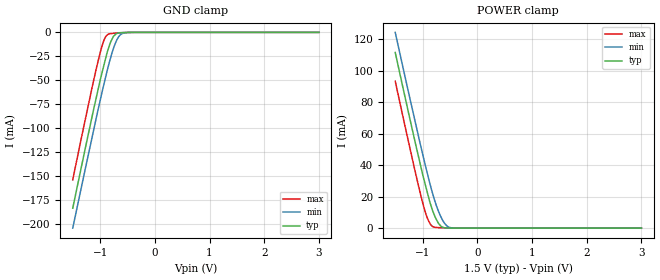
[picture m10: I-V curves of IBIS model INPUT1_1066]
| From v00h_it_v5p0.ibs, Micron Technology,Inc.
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| MODEL INPUT1_1066 (Add/Cmd/Ctrl Input Model, 800/1066Mbps)
[Model]   INPUT1_1066
Model_type   Input
Vinl = 575.000mV
Vinh = 925.000mV
|   typ   min   max
|C_comp   0.450pF   0.375pF   0.525pF
C_comp_power_clamp   0.2250pF   0.1875pF   0.2625pF
C_comp_gnd_clamp   0.2250pF   0.1875pF   0.2625pF
[Model Spec]
| Input threshold voltage corners
Vinl   0.5750V   0.5375V   0.6125V
Vinh   0.9250V   0.8875V   0.9625V
| Dynamic Overshoot Parameters from DDR3 Specification
D_overshoot_ampl_h   0.40   NA   NA
D_overshoot_ampl_l   0.40   NA   NA
D_overshoot_area_h   0.50n   NA   NA
D_overshoot_area_l   0.50n   NA   NA
[Receiver Thresholds]
Vth   =  0.750V
Vth_min  =  0.7350V
Vth_max  =  0.7650V
Vinh_ac  =  0.175V
Vinh_dc  =  0.100V
Vinl_ac  = -0.175V
Vinl_dc  = -0.100V
Tslew_ac =  5.000ns |Not specified, so set to high value
Threshold_sensitivity = 0.50
Reference_supply Power_clamp_ref
[Voltage Range]   1.5000V   1.4250V   1.5750V
[POWER Clamp Reference]   1.5000V   1.4250V   1.5750V
| Junction Temperature (Ambient temp is 35C typ, 95C min, -40C max)
[Temperature Range]   50.0   110.0   -40.0
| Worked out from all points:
|   GND clamp passes 1 mA (typ) near -0.69 V on its own axis
|   POWER clamp passes 1 mA (typ) near -0.66 V on its own axis
[GND Clamp]
|   Voltage   I(typ)   I(min)   I(max)
-1.5V     -183.4mA   -204.2mA   -153.8mA
-1.14V    -86.05mA   -107.7mA   -55.74mA
-1.01V    -52.73mA   -73.81mA   -23.65mA
-950mV    -38.75mA   -58.8mA    -11.49mA
-885mV    -24mA      -43.26mA   -3.467mA
-810mV    -10.41mA   -26.85mA   -1.319mA
-760mV    -4.505mA   -17.43mA   -1.003mA
-715mV    -1.875mA   -10.46mA   -783.5uA
-625mV    -323.6uA   -2.3mA     -427.9uA
-555mV    -144.6uA   -524.3uA   -240.6uA
-400mV    -20.95uA   -19.11uA   -23.1uA
3V        0A         0A         0A
[POWER Clamp]
|   Voltage   I(typ)   I(min)   I(max)
-1.5V     111.5mA    124.3mA    93.28mA
-1.075V   45.4mA     58.29mA    26.82mA
-980mV    31.54mA    44.18mA    13.67mA
-925mV    24.17mA    36.38mA    7.481mA
-885mV    18.8mA     30.79mA    4.164mA
-840mV    13.56mA    24.83mA    1.724mA
-755mV    5.855mA    14.98mA    454.6uA
-660mV    1.099mA    6.795mA    228.4uA
-555mV    109.5uA    1.392mA    105.9uA
-480mV    38.08uA    228.3uA    49.15uA
-365mV    8.863uA    12.85uA    10.84uA
3V        0A         0A         0A
